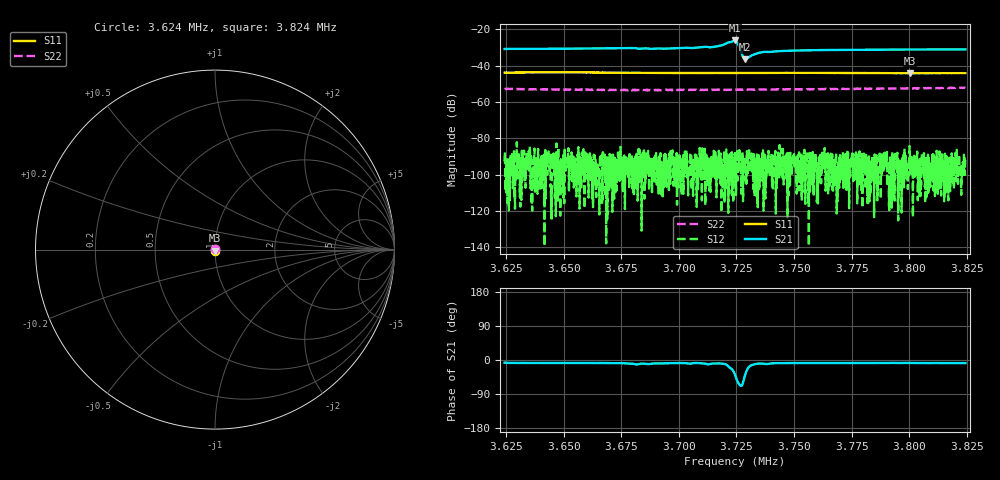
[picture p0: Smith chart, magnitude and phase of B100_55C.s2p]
# Hz S dB R 50.000
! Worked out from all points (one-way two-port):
!   6401 points, 3.624 MHz to 3.824 MHz, reference 50 ohm
!   highest |S21| = -26.21 dB at 3.724 MHz (marker M1); lowest = -36.6 dB at 3.729 MHz (marker M2)
!   lowest |S11| = -44.3 dB at 3.8 MHz (marker M3), VSWR 1.01, Z = 50 - j0.608 ohm
!   |S11| at or under -10 dB: start of sweep to end of sweep
!   |S22| runs from -53.7 to -52.2 dB; largest |S21 - S12| = 0.049
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3624375  -43.87 -92.8  -30.92 -7.0  -92.23 62.0  -53.01 102.9
3657719  -43.79 -92.5  -30.71 -8.0  -97.99 147.3  -53.33 101.1
3680281  -43.97 -93.2  -30.36 -10.1  -105.43 99.3  -53.44 99.8
3682844  -44.00 -93.1  -30.77 -10.2  -97.31 167.2  -53.47 99.5
3691062  -44.06 -93.7  -30.64 -9.1  -94.27 22.8  -53.44 98.6
3711594  -44.10 -94.1  -29.68 -9.7  -100.54 -101.5  -53.34 98.8
3714281  -44.08 -94.0  -29.90 -9.6  -96.80 -101.4  -53.27 98.8
3718188  -44.09 -93.7  -29.01 -9.2  -94.83 18.4  -53.34 99.1
3721312  -44.05 -93.9  -27.36 -15.8  -95.73 89.6  -53.44 100.0
3724375  -44.08 -94.2  -26.21 -38.9  -94.31 -97.8  -53.35 100.9
3725000  -44.10 -93.9  -26.73 -49.6  -90.57 -6.4  -53.40 99.8
3725688  -44.05 -94.0  -28.14 -59.3  -92.60 122.7  -53.38 100.7
3727812  -44.07 -93.9  -35.29 -60.3  -99.88 -65.2  -53.37 99.9
3728281  -44.05 -93.8  -36.30 -49.8  -97.78 42.3  -53.24 100.2
3728750  -44.07 -94.0  -36.58 -39.4  -97.75 9.0  -53.17 100.2
3729531  -44.03 -93.9  -36.24 -26.7  -87.14 175.6  -53.33 100.4
3732812  -44.05 -94.2  -33.83 -11.2  -95.70 -44.2  -53.28 100.2
3736750  -44.03 -93.7  -32.55 -9.6  -119.91 -27.0  -53.16 100.0
3757719  -44.01 -93.6  -31.56 -8.0  -96.95 37.6  -53.04 102.1
3791062  -44.18 -93.4  -31.30 -7.9  -93.42 67.8  -52.77 102.8
3800156  -44.31 -92.9  -31.17 -8.0  -84.26 67.2  -52.61 102.0
3824375  -44.23 -92.4  -31.12 -8.2  -92.05 118.2  -52.24 102.7
